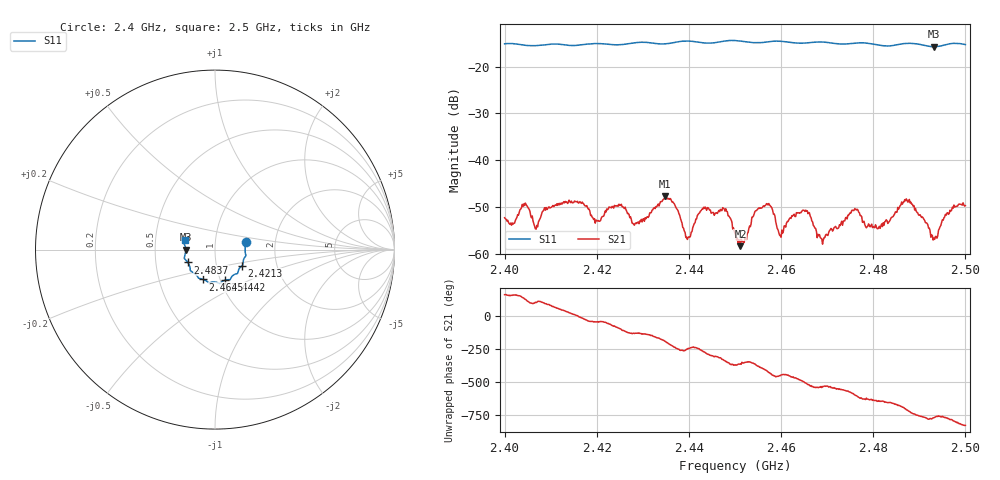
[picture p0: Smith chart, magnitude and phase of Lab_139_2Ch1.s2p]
# Hz S RI R 50
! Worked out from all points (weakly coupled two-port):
!   601 points, 2.4 GHz to 2.5 GHz, reference 50 ohm
!   highest |S21| = -47.73 dB at 2.4348 GHz (marker M1); lowest = -58.4 dB at 2.4512 GHz (marker M2)
!   lowest |S11| = -15.7 dB at 2.4932 GHz (marker M3), VSWR 1.39, Z = 35.9 - j0.0552 ohm
!   |S11| at or under -10 dB: start of sweep to end of sweep
!   S12 and S22 are empty: the file has one direction only
!   S11 on the Smith chart (normalised r, x): 2.4 GHz: 1.41, +0.12; 2.4213 GHz: 1.33, -0.25; 2.4442 GHz: 1.05, -0.37; 2.4645 GHz: 0.83, -0.29; 2.4837 GHz: 0.73, -0.11; 2.5 GHz: 0.71, +0.07
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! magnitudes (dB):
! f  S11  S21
! 2.4 GHz  -15.1  -52.3
! 2.4167 GHz  -15.3  -49.2
! 2.4213 GHz  -15.1  -52.0
! 2.4287 GHz  -14.8  -53.5
! 2.4333 GHz  -15.1  -49.4
! 2.4348 GHz  -15.1  -47.7
! 2.4398 GHz  -14.5  -56.5
! 2.4442 GHz  -15.0  -50.2
! 2.4478 GHz  -14.5  -50.9
! 2.45 GHz  -14.4  -55.6
! 2.4512 GHz  -14.5  -58.4
! 2.4565 GHz  -14.8  -49.7
! 2.46 GHz  -14.6  -56.5
! 2.4645 GHz  -15.0  -50.9
! 2.4667 GHz  -14.8  -53.0
! 2.469 GHz  -14.7  -58.0
! 2.4758 GHz  -15.0  -50.7
! 2.4833 GHz  -15.6  -53.3
! 2.4837 GHz  -15.5  -52.8
! 2.4873 GHz  -15.0  -48.6
! 2.4932 GHz  -15.7  -56.7
! 2.5 GHz  -15.3  -49.7
